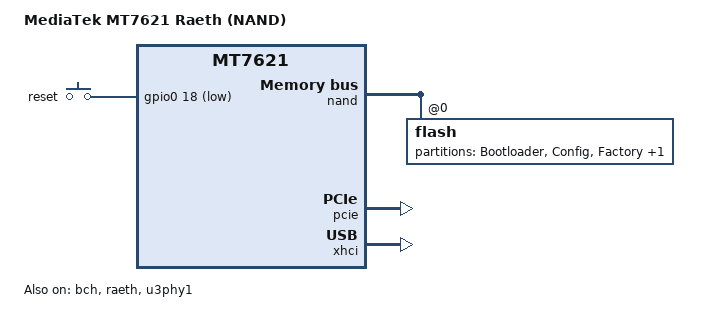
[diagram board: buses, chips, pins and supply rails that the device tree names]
/dts-v1/;

#include "mt7621.dtsi"
#include <dt-bindings/input/input.h>

/ {
	compatible = "mediatek,mt7621-rfb-nand", "mediatek,mt7621-soc";
	model = "MediaTek MT7621 Raeth (NAND)";

	chosen {
		bootargs = "console=ttyS0,115200";
	};

	gpio-keys-polled {
		compatible = "gpio-keys-polled";
		#address-cells = <1>;
		#size-cells = <0>;
		poll-interval = <20>;

		reset {
			label = "reset";
			gpios = <&gpio0 18 1>;
			linux,code = <KEY_RESTART>;
		};
	};
};

&bch {
	status = "okay";
};

&raeth {
	mac-address = [00 00 00 00 00 00];
	wan_at = "p4";
	gmac1-support = "rgmii-1";
	rgmii-mode-1 = "force-1000";
	gmac2-support = "rgmii-2";
	rgmii-mode-2 = "force-1000";
	gmac2-phy-address = <0>;
	gmac1_txq_num = <1>;
	gmac1_txq_txd_num = <1024>;
	gmac2_txq_num = <1>;
	gmac2_txq_txd_num = <1024>;
	num_rx_desc = <1024>;
	status = "okay";
};

&nand {
	status = "okay";

	flash@0 {
		reg = <0>;
		nand-ecc-mode = "hw";
		partitions {
			compatible = "fixed-partitions";
			#address-cells = <1>;
			#size-cells = <1>;

			partition@0 {
				label = "Bootloader";
				reg = <0x00000 0x0080000>;
				read-only;
			};

			partition@80000 {
				label = "Config";
				reg = <0x80000 0x0080000>;
			};

			partition@100000 {
				label = "Factory";
				reg = <0x100000 0x0040000>;
			};

			partition@140000 {
				label = "firmware";
				reg = <0x140000 0x7ec0000>;
			};
		};
	};
};

&pinctrl {
	state_default: pinctrl0 {
		gpio {
			mtk,group = "i2c", "uart2", "uart3", "rgmii2";
			mtk,function = "gpio";
		};
	};
};

&pcie {
	status = "okay";
};

&u3phy1 {
	status = "okay";
};

&xhci {
	status = "okay";
};
